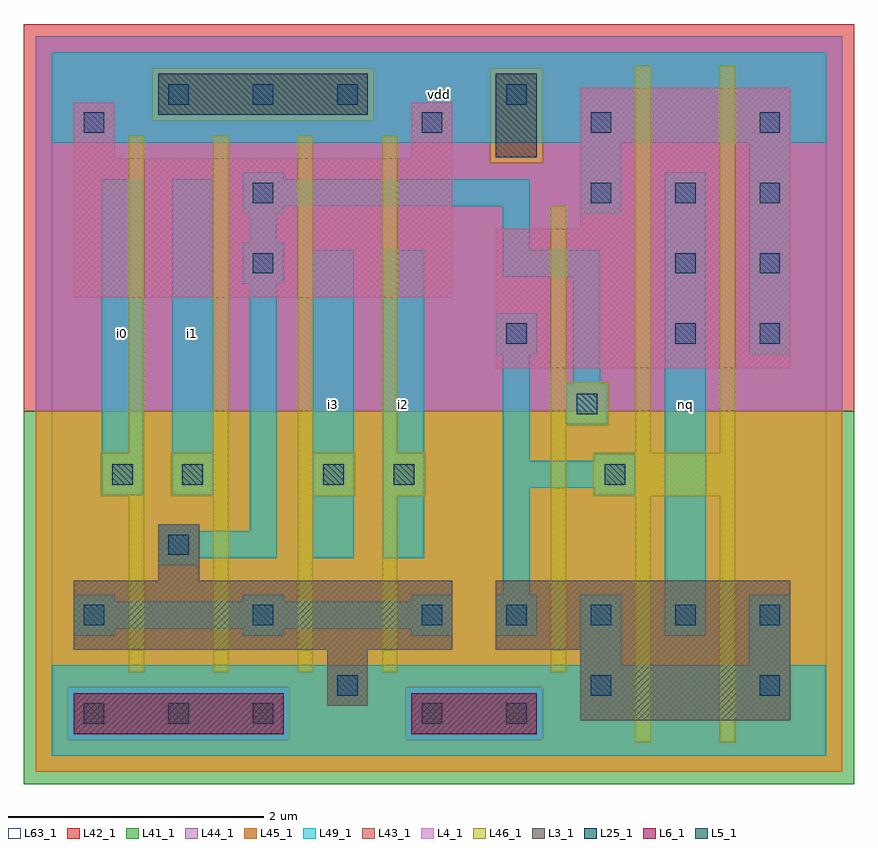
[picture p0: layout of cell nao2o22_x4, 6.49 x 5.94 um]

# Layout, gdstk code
import gdstk
lib = gdstk.Library(unit=1e-6, precision=1e-09)
def R(c, l, rs):  # rectangles x0, y0, x1, y1
    for r in rs: c.add(gdstk.rectangle(r[:2], r[2:], *l))
def A(c, l, x, y, w, h, nx, ny, dx, dy):  # array of equal rectangles
    R(c, l, [(x+i*dx, y+j*dy, x+i*dx+w, y+j*dy+h) for i in range(nx) for j in range(ny)])
L3_1 = (3, 1)
L4_1 = (4, 1)
L5_1 = (5, 1)
L6_1 = (6, 1)
L25_1 = (25, 1)
L41_1 = (41, 1)
L42_1 = (42, 1)
L43_1 = (43, 1)
L44_1 = (44, 1)
L45_1 = (45, 1)
L46_1 = (46, 1)
L49_1 = (49, 1)
L63_1 = (63, 1)

nao2o22_x4 = lib.new_cell('nao2o22_x4')
R(nao2o22_x4, L3_1, [(4.13,0.28,5.77,0.83), (2.15,0.39,2.47,0.83), (0.17,0.83,3.13,1.37), (3.47,0.83,5.77,1.37), (0.83,1.37,1.15,1.81)])
R(nao2o22_x4, L4_1, [(3.47,3.03,5.77,4.12), (0.17,3.58,3.13,4.67), (4.13,4.12,5.77,5.22), (0.17,4.67,0.49,5.11), (2.81,4.67,3.13,5.11)])
R(nao2o22_x4, L5_1, [(3.47,4.68,3.79,5.33), (0.83,5.01,2.47,5.33)])
R(nao2o22_x4, L6_1, [(0.17,0.17,1.81,0.49), (2.81,0.17,3.79,0.49)])
A(nao2o22_x4, L25_1, 0.25, 0.25, 0.16, 0.16, 3, 1, 0.66, 0)
A(nao2o22_x4, L25_1, 0.25, 1.02, 0.16, 0.16, 3, 1, 1.32, 0)
A(nao2o22_x4, L25_1, 3.55, 1.02, 0.16, 0.16, 4, 1, 0.66, 0)
A(nao2o22_x4, L25_1, 4.21, 4.32, 0.16, 0.16, 3, 1, 0.66, 0)
A(nao2o22_x4, L25_1, 2.89, 4.87, 0.16, 0.16, 3, 1, 1.32, 0)
A(nao2o22_x4, L25_1, 0.91, 5.09, 0.16, 0.16, 3, 1, 0.66, 0)
R(nao2o22_x4, L25_1, [(2.89,0.25,3.05,0.41), (3.55,0.25,3.71,0.41), (2.23,0.47,2.39,0.63), (4.21,0.47,4.37,0.63), (5.53,0.47,5.69,0.63), (0.91,1.57,1.07,1.73), (0.47,2.12,0.63,2.28), (1.02,2.12,1.18,2.28), (2.12,2.12,2.28,2.28), (2.67,2.12,2.83,2.28), (4.32,2.12,4.48,2.28), (4.1,2.67,4.26,2.83), (3.55,3.22,3.71,3.38), (4.87,3.22,5.03,3.38), (5.53,3.22,5.69,3.38), (1.57,3.77,1.73,3.93), (4.87,3.77,5.03,3.93), (5.53,3.77,5.69,3.93), (1.57,4.32,1.73,4.48), (0.25,4.87,0.41,5.03), (3.55,5.09,3.71,5.25)])
R(nao2o22_x4, L41_1, [(-0.22,-0.22,6.27,2.695)])
R(nao2o22_x4, L42_1, [(-0.22,2.695,6.27,5.72)])
R(nao2o22_x4, L43_1, [(0.17,0.17,1.81,0.49), (2.81,0.17,3.79,0.49), (4.13,0.28,5.77,0.83), (2.15,0.39,2.47,0.83), (0.17,0.83,3.13,1.37), (3.47,0.83,5.77,1.37), (0.83,1.37,1.15,1.81), (3.47,3.03,5.77,4.12), (0.17,3.58,3.13,4.67), (4.13,4.12,5.77,5.22), (0.17,4.67,0.49,5.11), (2.81,4.67,3.13,5.11), (3.47,4.68,3.79,5.33), (0.83,5.01,2.47,5.33)])
R(nao2o22_x4, L44_1, [(0.125,0.125,1.855,0.535), (2.765,0.125,3.835,0.535), (-0.125,2.695,6.175,4.635), (-0.125,4.635,3.425,4.965), (3.835,4.635,6.175,5.375), (-0.125,4.965,0.785,5.375), (2.515,4.965,3.425,5.375), (-0.125,5.375,6.175,5.625)])
R(nao2o22_x4, L45_1, [(-0.125,-0.125,6.175,0.125), (-0.125,0.125,0.125,0.535), (1.855,0.125,2.765,0.535), (3.835,0.125,6.175,0.535), (-0.125,0.535,6.175,2.695), (3.425,4.635,3.835,5.375), (0.785,4.965,2.515,5.375)])
A(nao2o22_x4, L46_1, 0.6, 0.655, 0.12, 1.375, 4, 1, 0.66, 0)
A(nao2o22_x4, L46_1, 0.6, 2.37, 0.12, 2.475, 4, 1, 0.66, 0)
R(nao2o22_x4, L46_1, [(4.56,0.105,4.68,2.03), (5.22,0.105,5.34,2.03), (3.9,0.655,4.02,2.58), (0.38,2.03,0.72,2.37), (0.93,2.03,1.38,2.37), (1.92,2.03,2.37,2.37), (2.58,2.03,2.92,2.37), (4.23,2.03,5.34,2.37), (4.56,2.37,4.68,5.395), (5.22,2.37,5.34,5.395), (3.9,2.58,4.35,2.92), (3.9,2.92,4.02,4.295)])
A(nao2o22_x4, L49_1, 0.17, 0.94, 0.32, 0.055, 3, 2, 1.32, 0.265)
R(nao2o22_x4, L49_1, [(0,0,6.05,0.71), (4.13,0.71,4.45,1.26), (5.45,0.71,5.77,1.26), (3.47,0.94,3.79,1.26), (4.79,0.94,5.11,4.56), (0.17,0.995,3.13,1.205), (3.525,1.26,3.735,2.095), (0.83,1.49,1.15,1.545), (0.83,1.545,1.755,1.755), (2.04,1.545,2.36,3.955), (2.59,1.545,2.91,3.955), (0.83,1.755,1.15,1.81), (1.545,1.755,1.755,3.69), (0.39,2.04,0.71,4.505), (0.94,2.04,1.26,4.505), (4.24,2.04,4.56,2.095), (3.525,2.095,4.56,2.305), (3.525,2.305,3.735,3.14), (4.24,2.305,4.56,2.36), (4.02,2.59,4.34,2.91), (4.075,2.91,4.285,3.745), (3.47,3.14,3.79,3.46), (5.45,3.14,5.77,4.79), (1.49,3.69,1.81,4.01), (3.525,3.745,4.285,3.955), (3.525,3.955,3.735,4.295), (1.545,4.01,1.755,4.24), (1.49,4.24,1.81,4.295), (4.13,4.24,4.45,4.79), (1.49,4.295,3.735,4.505), (1.49,4.505,1.81,4.56), (0,4.79,6.05,5.5)])
R(nao2o22_x4, L63_1, [(0,0,6.05,5.5)])
nao2o22_x4.add(gdstk.Label('i1', (1.1,3.3), layer=49, texttype=1))
nao2o22_x4.add(gdstk.Label('i0', (0.55,3.3), layer=49, texttype=1))
nao2o22_x4.add(gdstk.Label('i1', (1.1,3.3), layer=49, texttype=1))
nao2o22_x4.add(gdstk.Label('i0', (0.55,3.3), layer=49, texttype=1))
nao2o22_x4.add(gdstk.Label('i3', (2.2,2.75), layer=49, texttype=1))
nao2o22_x4.add(gdstk.Label('i2', (2.75,2.75), layer=49, texttype=1))
nao2o22_x4.add(gdstk.Label('i2', (2.75,2.75), layer=49, texttype=1))
nao2o22_x4.add(gdstk.Label('i3', (2.2,2.75), layer=49, texttype=1))
nao2o22_x4.add(gdstk.Label('vdd', (3.025,5.17), layer=49, texttype=1))
nao2o22_x4.add(gdstk.Label('vdd', (3.025,5.17), layer=49, texttype=1))
nao2o22_x4.add(gdstk.Label('nq', (4.95,2.75), layer=49, texttype=1))
nao2o22_x4.add(gdstk.Label('nq', (4.95,2.75), layer=49, texttype=1))

lib.write_gds('nao2o22_x4.gds')
